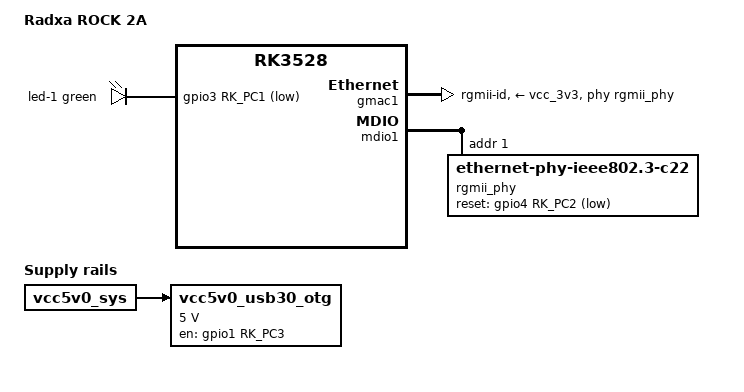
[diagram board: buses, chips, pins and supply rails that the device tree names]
// SPDX-License-Identifier: (GPL-2.0+ OR MIT)

/dts-v1/;

#include "rk3528-rock-2.dtsi"

/ {
	model = "Radxa ROCK 2A";
	compatible = "radxa,rock-2a", "rockchip,rk3528";

	aliases {
		ethernet0 = &gmac1;
	};

	vcc5v0_usb30_otg: regulator-5v0-vcc-usb30-otg {
		compatible = "regulator-fixed";
		enable-active-high;
		gpios = <&gpio1 RK_PC3 GPIO_ACTIVE_HIGH>;
		pinctrl-names = "default";
		pinctrl-0 = <&usb_otg_en>;
		regulator-name = "vcc5v0_usb30_otg";
		regulator-min-microvolt = <5000000>;
		regulator-max-microvolt = <5000000>;
		vin-supply = <&vcc5v0_sys>;
	};
};

&gmac1 {
	clock_in_out = "output";
	phy-handle = <&rgmii_phy>;
	phy-mode = "rgmii-id";
	phy-supply = <&vcc_3v3>;
	pinctrl-names = "default";
	pinctrl-0 = <&rgmii_miim>, <&rgmii_tx_bus2>, <&rgmii_rx_bus2>,
		    <&rgmii_rgmii_clk>, <&rgmii_rgmii_bus>;
	status = "okay";
};

&leds {
	pinctrl-names = "default";
	pinctrl-0 = <&state_led_b>, <&sys_led_g>;

	led-1 {
		color = <LED_COLOR_ID_GREEN>;
		default-state = "on";
		function = LED_FUNCTION_STATUS;
		gpios = <&gpio3 RK_PC1 GPIO_ACTIVE_LOW>;
		linux,default-trigger = "default-on";
	};
};

&mdio1 {
	rgmii_phy: ethernet-phy@1 {
		compatible = "ethernet-phy-ieee802.3-c22";
		reg = <0x1>;
		pinctrl-names = "default";
		pinctrl-0 = <&gmac1_rstn_l>;
		reset-assert-us = <20000>;
		reset-deassert-us = <100000>;
		reset-gpios = <&gpio4 RK_PC2 GPIO_ACTIVE_LOW>;
	};
};

&pinctrl {
	ethernet {
		gmac1_rstn_l: gmac1-rstn-l {
			rockchip,pins = <4 RK_PC2 RK_FUNC_GPIO &pcfg_pull_none>;
		};
	};

	leds {
		sys_led_g: sys-led-g {
			rockchip,pins = <3 RK_PC1 RK_FUNC_GPIO &pcfg_pull_none>;
		};
	};

	usb {
		usb_otg_en: usb-otg-en {
			rockchip,pins = <1 RK_PC3 RK_FUNC_GPIO &pcfg_pull_none>;
		};
	};
};
